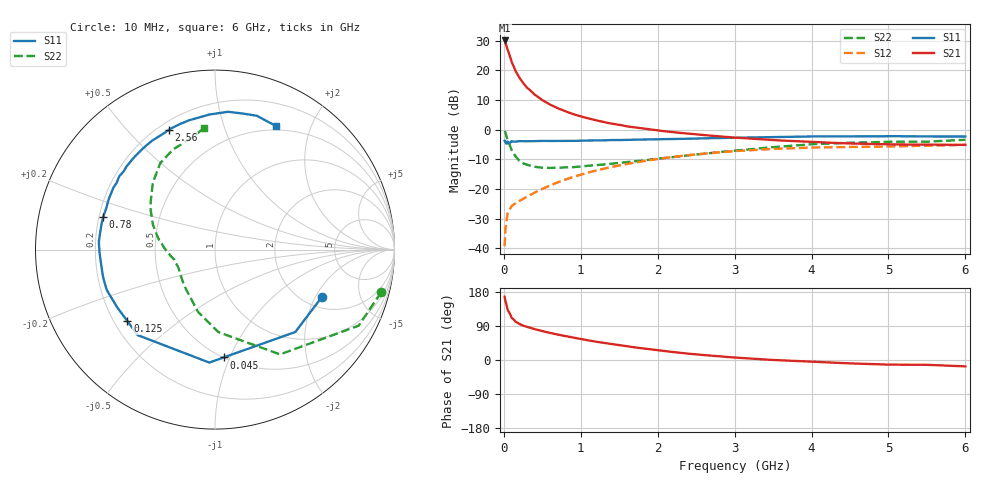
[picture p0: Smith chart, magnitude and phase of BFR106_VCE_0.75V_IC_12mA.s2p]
! Infineon Technologies  Discrete & RF Semiconductors
! BFR106
! VCE = 0.75 V,  IC =  12 mA
! Common Emitter S-Parameters:  Nov 2015
# GHz  S  MA  R  50
!  f  S11  S21  S12  S22
! GHz  MAG  ANG  MAG  ANG  MAG  ANG  MAG  ANG
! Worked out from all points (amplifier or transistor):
!   210 points, 10 MHz to 6 GHz, reference 50 ohm
!   highest |S21| = 30.1 dB at 10 MHz (marker M1)
!   |S21| within 3 dB of that: start of sweep to 48.05 MHz
!   unconditionally stable (mu >= 1): 414.1 MHz to end of sweep
!   at 185 MHz: K = 0.64, MSG = 21.3 dB, |S12| = -24.3 dB
!   at 1.52 GHz: K = 1.11, MAG = 4.8 dB, |S12| = -11.9 dB
!   at 6 GHz: K = 1.03, MAG = -1.1 dB, |S12| = -5.1 dB
!   S11 on the Smith chart (normalised r, x): 10 MHz: 2.48, -2.26; 45 MHz: 0.50, -0.95; 125 MHz: 0.25, -0.34; 780 MHz: 0.22, +0.14; 2.56 GHz: 0.24, +0.66; 6 GHz: 0.45, +1.51
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0.01  0.6516 -23.8  32.02 167.0  0.0109 81.5  0.9561 -14.4
0.02  0.6412 -45.7  30.03 156.2  0.0207 69.9  0.9058 -27.9
0.045  0.6029 -85.4  23.23 136.6  0.036 53.8  0.707 -52.0
0.05  0.6302 -92.9  22.31 131.4  0.0392 52.1  0.687 -58.2
0.1  0.6423 -132.1  14.06 111.6  0.0514 41.8  0.4599 -87.7
0.125  0.6302 -140.7  11.92 107.4  0.0545 40.9  0.4048 -95.4
0.15  0.6328 -149.5  9.871 101.4  0.0577 40.1  0.3591 -105.3
0.2  0.6436 -159.5  7.613 95.3  0.0627 42.2  0.3025 -116.7
0.24  0.6421 -164.6  6.423 91.7  0.0675 43.6  0.2774 -124.7
0.3  0.6397 -171.0  5.15 87.2  0.0745 46.6  0.2576 -133.2
0.4  0.6438 -178.7  3.917 81.4  0.0871 50.4  0.2379 -143.8
0.5  0.6486 176.0  3.158 76.3  0.1008 53.0  0.2293 -151.0
0.6  0.6472 171.0  2.657 71.4  0.1148 54.4  0.2272 -155.5
0.78  0.6485 163.8  2.094 63.9  0.1417 55.7  0.2319 -162.5
1.02  0.6553 154.8  1.65 54.7  0.1779 55.4  0.2415 -169.0
1.4  0.6721 142.5  1.27 42.3  0.2355 52.1  0.2676 -177.9
2.02  0.6923 125.1  0.966 25.4  0.3243 43.7  0.3273 167.5
2.56  0.7147 111.2  0.821 13.8  0.3911 35.1  0.3886 154.3
3.1  0.737 99.6  0.724 5.2  0.4434 26.1  0.4556 141.4
4.1  0.771 83.3  0.615 -5.3  0.5027 10.8  0.5757 120.3
5.1  0.7786 71.6  0.565 -12.3  0.5253 -1.0  0.6273 104.2
6  0.7688 63.8  0.557 -16.8  0.5552 -9.7  0.678 95.4
